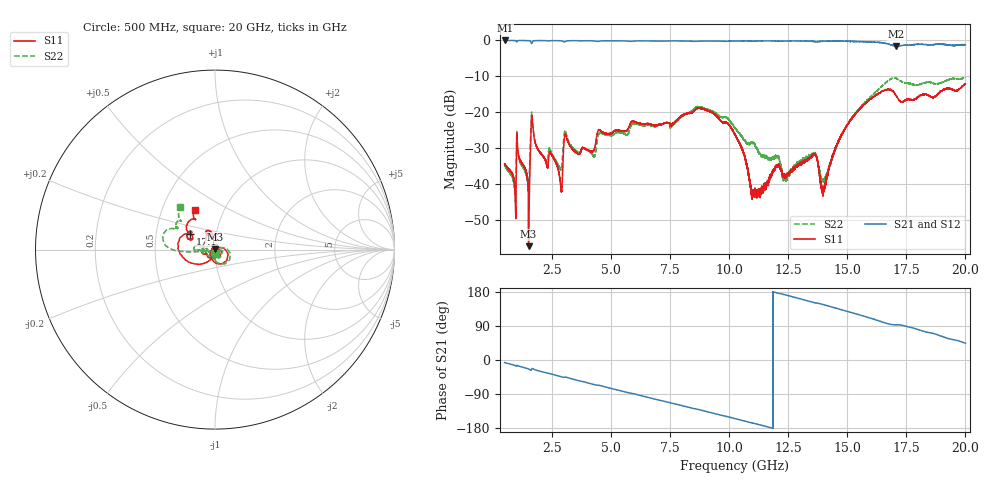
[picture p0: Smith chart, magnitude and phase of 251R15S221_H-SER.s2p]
!{251R15S221}
!Johanson Technology Inc.
!www.johansontechnology.com
!Test Board Conditions:
!Substrate Type  RO4350B
!Substrate Thickness  20 mil
!Substrate Dk  3.66
!TL Type: GCPW
!TL Trace Width  34 mil
!TL Gap  10 mil
!Electrode orientation  Horizontal
!DUT TOPOLOGY	SERIES
!Mounting Pad LxW  26x52 mil
! Created Thu Mar 12 17:11:22 2020
# mhz S ma R 50
! 2 Port Network Data from SP1.SP block
! freq  magS11  angS11  magS21  angS21  magS12  angS12  magS22  angS22
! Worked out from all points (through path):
!   19501 points, 500 MHz to 20 GHz, reference 50 ohm
!   highest |S21| = -0.01 dB at 514 MHz (marker M1); lowest = -1.6 dB at 17.08 GHz (marker M2)
!   group delay of S21, straight-line fit = 43.7 ps
!   lowest |S11| = -57.3 dB at 1.515 GHz (marker M3), VSWR 1.00, Z = 49.9 + j0.0885 ohm
!   |S11| at or under -10 dB: start of sweep to end of sweep
!   |S22| runs from -45.3 to -10.2 dB; largest |S21 - S12| = 0.017
!   S11 on the Smith chart (normalised r, x): 500 MHz: 0.99, -0.04; 17.1 GHz: 0.74, +0.13; 20 GHz: 0.73, +0.35
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500  0.01917 -99.8  0.9985 -6.8  0.9982 -6.8  0.01836 -94.2
514  0.01886 -99.8  0.9993 -7.1  0.9986 -7.0  0.01776 -94.7
896  0.01149 -110.6  0.9971 -13.6  0.9978 -13.6  0.0103 -87.2
1096  0.02452 -109.0  0.9952 -16.0  0.9962 -16.0  0.02357 -94.2
1515  0.001364 139.4  0.9937 -23.7  0.9927 -23.8  0.00902 -12.7
1697  0.06122 -102.1  0.9748 -23.1  0.9744 -23.1  0.06439 -86.1
1993  0.02791 -135.3  0.9955 -29.5  0.9957 -29.5  0.02751 -100.1
2859  0.01035 -138.8  0.9901 -43.6  0.9904 -43.6  0.01596 -80.8
3094  0.04723 -118.6  0.973 -45.2  0.9733 -45.2  0.05228 -99.6
3750  0.03004 -132.4  0.9862 -56.2  0.9863 -56.2  0.03005 -127.0
7000  0.06724 163.1  0.9794 -105.3  0.9798 -105.3  0.06564 -175.5
8790  0.1133 110.8  0.9792 -131.9  0.9785 -131.9  0.1185 173.9
10250  0.04961 84.0  0.9836 -154.7  0.983 -154.6  0.05994 165.3
11030  0.007424 56.9  0.9764 -166.9  0.9769 -166.9  0.03698 -159.6
12359  0.01285 -178.3  0.9829 172.3  0.9812 172.3  0.01207 -74.7
13500  0.02409 122.8  0.9745 153.0  0.9731 153.1  0.02603 -38.6
13999  0.008762 -47.7  0.9783 145.9  0.9761 145.9  0.01159 -144.6
15041  0.07002 -117.2  0.9744 127.7  0.9744 127.6  0.07044 -172.7
16750  0.2089 168.9  0.8911 95.4  0.8821 95.1  0.2786 174.8
17082  0.1681 148.5  0.8304 92.8  0.8283 93.0  0.2954 159.7
17104  0.1641 148.3  0.8321 93.0  0.8298 93.0  0.2939 159.0
20000  0.2497 116.8  0.8686 44.3  0.8689 44.4  0.3078 129.4
